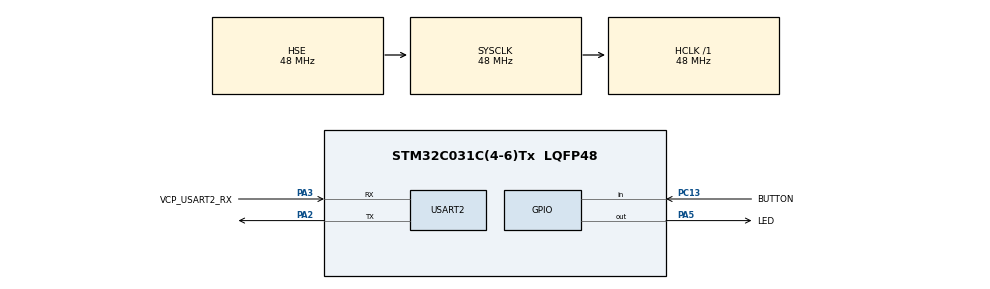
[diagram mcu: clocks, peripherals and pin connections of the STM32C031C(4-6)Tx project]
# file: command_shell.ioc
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Mcu.Family=STM32C0
Mcu.Name=STM32C031C(4-6)Tx
Mcu.Package=LQFP48
PA13.GPIO_Label=DEBUG_SWDIO
PA13.Signal=DEBUG_SWDIO
PA14-BOOT0.GPIO_Label=DEBUG_SWCLK
PA14-BOOT0.Signal=DEBUG_SWCLK
PA2.Mode=Asynchronous
PA2.Signal=USART2_TX
PA3.GPIO_Label=VCP_USART2_RX
PA3.Mode=Asynchronous
PA3.Signal=USART2_RX
PA5.GPIO_Label=LED
PA5.Signal=GPIO_Output
PC13.GPIO_Label=BUTTON
PC13.Signal=GPIO_Input
PC14-OSCX_IN\ (PC14).GPIO_Label=RCC_OSCX_IN
PC14-OSCX_IN\ (PC14).Mode=LSE-External-Oscillator
PC14-OSCX_IN\ (PC14).Signal=RCC_OSCX_IN
PC15-OSCX_OUT\ (PC15).GPIO_Label=RCC_OSCX_OUT
PC15-OSCX_OUT\ (PC15).Mode=LSE-External-Oscillator
PC15-OSCX_OUT\ (PC15).Signal=RCC_OSCX_OUT
PF0-OSC_IN\ (PF0).GPIO_Label=RCC_OSC_IN
PF0-OSC_IN\ (PF0).Mode=HSE-External-Oscillator
PF0-OSC_IN\ (PF0).Signal=RCC_OSC_IN
PF1-OSC_OUT\ (PF1).GPIO_Label=RCC_OSC_OUT
PF1-OSC_OUT\ (PF1).Mode=HSE-External-Oscillator
PF1-OSC_OUT\ (PF1).Signal=RCC_OSC_OUT
ProjectManager.HeapSize=0x200
ProjectManager.StackSize=0x400
ProjectManager.TargetToolchain=STM32CubeIDE
RCC.ADCFreq_Value=48000000
RCC.AHBFreq_Value=48000000
RCC.CortexFreq_Value=48000000
RCC.EXTERNAL_CLOCK_VALUE=12288000
RCC.HCLKFreq_Value=48000000
RCC.HSE_VALUE=48000000
RCC.HSISYSCLKDivider=RCC_HSI_DIV1
RCC.HSI_VALUE=48000000
RCC.SYSCLKFreq_VALUE=48000000
RCC.SYSCLKSource=RCC_SYSCLKSOURCE_HSE
USART2.VirtualMode-Asynchronous=VM_ASYNC
board=NUCLEO-C031C6

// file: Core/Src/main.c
/* USER CODE BEGIN Header */
/**
  ******************************************************************************
  * @file           : main.c
  * @brief          : Main program body
  ******************************************************************************
  * @attention
  *
  * Copyright (c) 2026 STMicroelectronics.
  * All rights reserved.
  *
  * This software is licensed under terms that can be found in the LICENSE file
  * in the root directory of this software component.
  * If no LICENSE file comes with this software, it is provided AS-IS.
  *
  ******************************************************************************
  */
/* USER CODE END Header */
#include "main.h"

/* USER CODE BEGIN Includes */
#include "led.h"
#include <string.h>
/* USER CODE END Includes */

UART_HandleTypeDef huart2;

void SystemClock_Config(void);
static void MX_GPIO_Init(void);
static void MX_USART2_UART_Init(void);
/* USER CODE BEGIN PFP */
static void uart_print(const char *text);
/* USER CODE END PFP */

int main(void)
{

  /* USER CODE BEGIN 1 */
	static const char menu[] =
	    "\r\n"
		"Type what you want to do \r\n"
	    "led on\r\n"
	    "led off\r\n"
	    "blink led\r\n";
	uint8_t received = 0;
	char input[32];
	int counter=0;

  /* USER CODE END 1 */

  /* MCU Configuration--------------------------------------------------------*/

  /* Reset of all peripherals, Initializes the Flash interface and the Systick. */
  HAL_Init();

  /* Configure the system clock */
  SystemClock_Config();

  /* Initialize all configured peripherals */
  MX_GPIO_Init();
  MX_USART2_UART_Init();
  /* USER CODE BEGIN 2 */
uart_print("Hello from the board\r\n");
uart_print(menu);
uart_print("> ");

  /* USER CODE END 2 */

  /* Infinite loop */
  /* USER CODE BEGIN WHILE */
  while (1)
  {
	  HAL_UART_Receive(&huart2, &received, 1, HAL_MAX_DELAY);
	  if(received == '\r' || received == '\n'){

		  uart_print("\r\n");
		  input[counter] = '\0';

		  if(strcmp(input,"led on")==0){
			  led_on();
			  uart_print("LED is ON\r\n");

		  }
		  else if(strcmp(input,"led off")==0){
			  led_off();
			  uart_print("LED is OFF\r\n");

		  }
		  else if (strcmp(input,"blink led")==0){
			  uart_print("LED is Blinking\r\n");
			  led_blink();

		  }
		  else{
			  uart_print("invalid input");
		  }

		  counter = 0;
		  uart_print("> ");
	  }
	  else if(received =='\b' || received == 127){
		  if(counter>0){
			  counter--;
			  uart_print("\b \b");
		  }

	  }
	  else{
		  if(counter < sizeof(input)-1){
			  input[counter] = received;
			  counter++;
			  HAL_UART_Transmit(&huart2, &received, 1, HAL_MAX_DELAY);		  }

	  }

    /* USER CODE END WHILE */

  }
}

void SystemClock_Config(void)
{
  RCC_OscInitTypeDef RCC_OscInitStruct = {0};
  RCC_ClkInitTypeDef RCC_ClkInitStruct = {0};

  __HAL_FLASH_SET_LATENCY(FLASH_LATENCY_1);

  /** Initializes the RCC Oscillators according to the specified parameters
  * in the RCC_OscInitTypeDef structure.
  */
  RCC_OscInitStruct.OscillatorType = RCC_OSCILLATORTYPE_HSE;
  RCC_OscInitStruct.HSEState = RCC_HSE_ON;
  if (HAL_RCC_OscConfig(&RCC_OscInitStruct) != HAL_OK)
  {
    Error_Handler();
  }

  /** Initializes the CPU, AHB and APB buses clocks
  */
  RCC_ClkInitStruct.ClockType = RCC_CLOCKTYPE_HCLK|RCC_CLOCKTYPE_SYSCLK
                              |RCC_CLOCKTYPE_PCLK1;
  RCC_ClkInitStruct.SYSCLKSource = RCC_SYSCLKSOURCE_HSE;
  RCC_ClkInitStruct.SYSCLKDivider = RCC_SYSCLK_DIV1;
  RCC_ClkInitStruct.AHBCLKDivider = RCC_HCLK_DIV1;
  RCC_ClkInitStruct.APB1CLKDivider = RCC_APB1_DIV1;

  if (HAL_RCC_ClockConfig(&RCC_ClkInitStruct, FLASH_LATENCY_1) != HAL_OK)
  {
    Error_Handler();
  }
}

static void MX_USART2_UART_Init(void)
{

  huart2.Instance = USART2;
  huart2.Init.BaudRate = 115200;
  huart2.Init.WordLength = UART_WORDLENGTH_8B;
  huart2.Init.StopBits = UART_STOPBITS_1;
  huart2.Init.Parity = UART_PARITY_NONE;
  huart2.Init.Mode = UART_MODE_TX_RX;
  huart2.Init.HwFlowCtl = UART_HWCONTROL_NONE;
  huart2.Init.OverSampling = UART_OVERSAMPLING_16;
  huart2.Init.OneBitSampling = UART_ONE_BIT_SAMPLE_DISABLE;
  huart2.Init.ClockPrescaler = UART_PRESCALER_DIV1;
  huart2.AdvancedInit.AdvFeatureInit = UART_ADVFEATURE_NO_INIT;
  if (HAL_UART_Init(&huart2) != HAL_OK)
  {
    Error_Handler();
  }

}

static void MX_GPIO_Init(void)
{
  GPIO_InitTypeDef GPIO_InitStruct = {0};

  /* GPIO Ports Clock Enable */
  __HAL_RCC_GPIOC_CLK_ENABLE();
  __HAL_RCC_GPIOF_CLK_ENABLE();
  __HAL_RCC_GPIOA_CLK_ENABLE();

  /*Configure GPIO pin Output Level */
  HAL_GPIO_WritePin(LED_GPIO_Port, LED_Pin, GPIO_PIN_RESET);

  /*Configure GPIO pin : BUTTON_Pin */
  GPIO_InitStruct.Pin = BUTTON_Pin;
  GPIO_InitStruct.Mode = GPIO_MODE_INPUT;
  GPIO_InitStruct.Pull = GPIO_NOPULL;
  HAL_GPIO_Init(BUTTON_GPIO_Port, &GPIO_InitStruct);

  /*Configure GPIO pin : LED_Pin */
  GPIO_InitStruct.Pin = LED_Pin;
  GPIO_InitStruct.Mode = GPIO_MODE_OUTPUT_PP;
  GPIO_InitStruct.Pull = GPIO_NOPULL;
  GPIO_InitStruct.Speed = GPIO_SPEED_FREQ_LOW;
  HAL_GPIO_Init(LED_GPIO_Port, &GPIO_InitStruct);

}
/* USER CODE BEGIN 4 */

static void uart_print(const char *text)
{
    HAL_UART_Transmit(&huart2, (uint8_t *)text, strlen(text), HAL_MAX_DELAY);
}

/* USER CODE END 4 */

void Error_Handler(void)
{
  __disable_irq();
  while (1)
  {
  }
}
